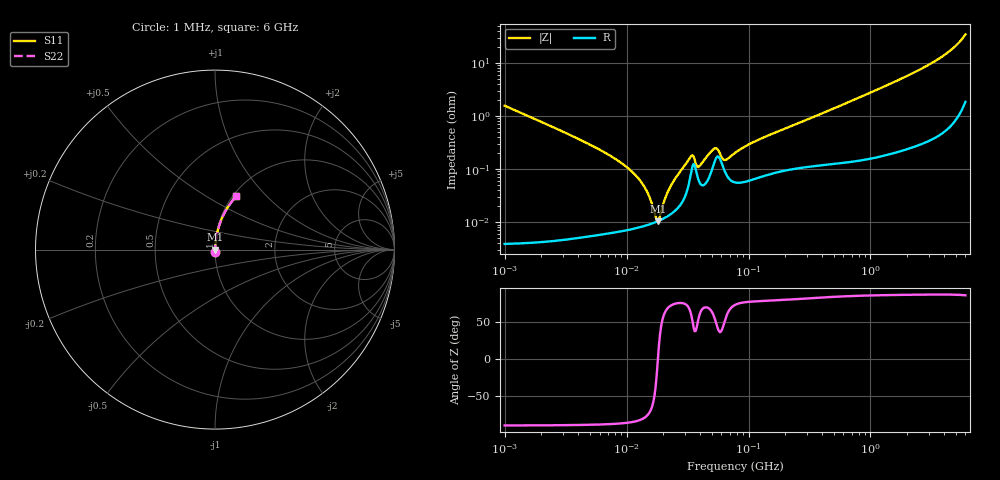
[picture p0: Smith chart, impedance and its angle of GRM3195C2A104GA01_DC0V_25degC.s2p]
!Murata Part Number: GRM3195C2A104GA01
!These Parameters are Measured in Series Mode Connection
!  o--ll--o
!Port1  Port2
!  o------o
!Operation Temp=25[degC], DC Bias Voltage=0[V]
!Freq. Start=1[MHz] Stop=6[GHz], 401[Steps]
!Data Generated on Jun 1, 2020
# Hz S RI R 50
!Freq.(Hz) S11(Real) S11(Imag) S21(Real) S21(Imag) S12(Real) S12(Imag) S22(Real) S22(Imag)
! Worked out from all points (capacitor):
!   401 points, 1 MHz to 6 GHz, reference 50 ohm
!   read as one part in series: C = 102 nF near 1.044 MHz
!   lowest |Z| = 10.4 mohm at 18.04 MHz (marker M1)
!   series resonance near 18.06 MHz, so ESL is about 760 pH
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1000000  0.000283 -0.0156  0.9997 0.0156  0.9997 0.0156  0.000283 -0.0156
4293785  6.31e-05 -0.00344  0.9999 0.00344  0.9999 0.00344  6.31e-05 -0.00344
7894251  6.61e-05 -0.00161  0.9999 0.00161  0.9999 0.00161  6.61e-05 -0.00161
1.16769e7  7.64e-05 -0.000788  0.9999 0.000788  0.9999 0.000788  7.64e-05 -0.000788
1.451381e7  8.68e-05 -0.00039  0.9999 0.00039  0.9999 0.00039  8.68e-05 -0.00039
1.727208e7  9.97e-05 -7.99e-05  0.9999 7.99e-05  0.9999 7.99e-05  9.97e-05 -7.99e-05
1.803995e7  0.000104 -1.95e-06  0.9999 1.95e-06  0.9999 1.95e-06  0.000104 -1.95e-06
1.843659e7  0.000106 3.73e-05  0.9999 -3.73e-05  0.9999 -3.73e-05  0.000106 3.73e-05
2.100646e7  0.000124 0.000279  0.9999 -0.000279  0.9999 -0.000279  0.000124 0.000279
2.291577e7  0.00014 0.00045  0.9999 -0.00045  0.9999 -0.00045  0.00014 0.00045
3.316698e7  0.000676 0.00151  0.9993 -0.00151  0.9993 -0.00151  0.000676 0.00151
3.46415e7  0.0011 0.00144  0.9989 -0.00144  0.9989 -0.00144  0.0011 0.00144
3.947016e7  0.000571 0.000967  0.9994 -0.000967  0.9994 -0.000967  0.000571 0.000967
5.236714e7  0.00132 0.00203  0.9987 -0.00203  0.9987 -0.00203  0.00132 0.00203
5.589783e7  0.00173 0.00156  0.9983 -0.00156  0.9983 -0.00156  0.00173 0.00156
6.368941e7  0.000919 0.00116  0.9991 -0.00116  0.9991 -0.00116  0.000919 0.00116
7.745967e7  0.000562 0.00193  0.9994 -0.00193  0.9994 -0.00193  0.000562 0.00193
1.196694e8  0.000693 0.00346  0.9993 -0.00346  0.9993 -0.00346  0.000693 0.00346
3.325952e8  0.00121 0.00926  0.9988 -0.00926  0.9988 -0.00926  0.00121 0.00926
1.428092e9  0.00345 0.0395  0.9965 -0.0395  0.9965 -0.0395  0.00345 0.0395
3.5601e9  0.0173 0.1136  0.9827 -0.1136  0.9827 -0.1136  0.0173 0.1136
6e9  0.1181 0.2969  0.8819 -0.2969  0.8819 -0.2969  0.1181 0.2969
